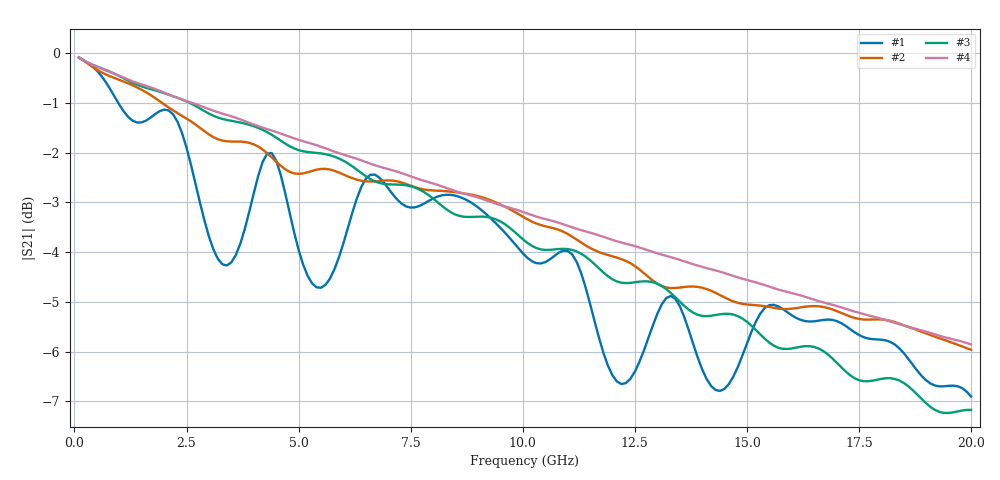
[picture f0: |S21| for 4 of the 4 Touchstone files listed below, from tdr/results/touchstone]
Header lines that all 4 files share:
! Touchstone file exported from Ansys Full-Wave Spice
!  Design: unknown
! Notes: Touchstone(R) file created by SIwave 2026 R1
!  : Path:
!  : *** SIwave SYZ Simulation Settings ***
!  : SI/PI Main
!  :  SI Simulation -  Balanced
!  : SI/PI Advanced
!  :  Coupling
!  :  Coplane: On
!  :  Intra-plane: Off
!  :  Split-plane: On
!  :  Cavity field: On
!  :  Trace: On
!  :  Cross-talk threshold: -34dB
!  :  Max. coupled lines: 12
!  :  Geometry Processing
!  :  Void area threshold: 2mm^2
!  :  Pad area threshold: 3.712mm^2
!  :  Planes area threshold: 3.364E-05mm^2
!  :  Vertex snap distance threshold: 0.0025mm
!  :  Mesh Refinement
!  :  Auto
!  :  AC/DC Merge
!  :  Default
!  :  Trace return current distribution: Off
# HZ S RI R 50
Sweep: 100 MHz to 20 GHz
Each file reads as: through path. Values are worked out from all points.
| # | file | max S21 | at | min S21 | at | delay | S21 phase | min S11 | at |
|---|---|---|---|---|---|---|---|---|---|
| 1 | multiple_sections.s2p | -0.08 dB | 100 MHz | -6.9 dB | 20 GHz | 563 ps | 98 deg at 10.1 GHz | -44.1 dB | 8.5 GHz |
| 2 | narrow_high_z.s2p | -0.09 dB | 100 MHz | -6.0 dB | 20 GHz | 560 ps | 111 deg at 10.1 GHz | -52.4 dB | 9.6 GHz |
| 3 | sub_resolution.s2p | -0.10 dB | 100 MHz | -7.2 dB | 19.5 GHz | 564 ps | 97 deg at 10.1 GHz | -44.9 dB | 700 MHz |
| 4 | uniform_control.s2p | -0.09 dB | 100 MHz | -5.9 dB | 20 GHz | 562 ps | 105 deg at 10.1 GHz | -48.0 dB | 900 MHz |
